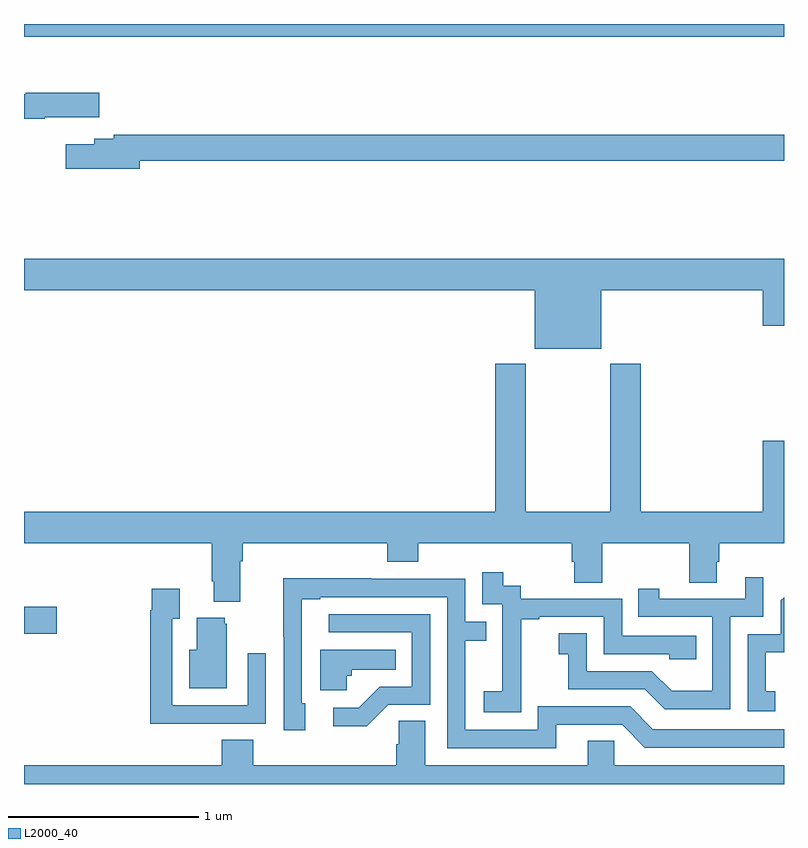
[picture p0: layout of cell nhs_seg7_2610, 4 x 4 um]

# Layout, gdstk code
import gdstk
lib = gdstk.Library(unit=1e-6, precision=1e-09)
def R(c, l, rs):  # rectangles x0, y0, x1, y1
    for r in rs: c.add(gdstk.rectangle(r[:2], r[2:], *l))
def P(c, l, *ps):  # polygons
    for p in ps: c.add(gdstk.Polygon(p, *l))
L2000_40 = (2000, 40)

nhs_seg7_2610 = lib.new_cell('nhs_seg7_2610')
R(nhs_seg7_2610, L2000_40, [(281,1014.791,281.173,1014.933), (281,1017.932,285,1018)])
P(nhs_seg7_2610, L2000_40, [(281.11,1017.509),(281.395,1017.509),(281.395,1017.639),(281.01,1017.639),(281.01,1017.631),(281,1017.631),(281,1017.502),(281.11,1017.502)],
  [(281.608,1017.28),(285,1017.28),(285,1017.416),(281.473,1017.416),(281.473,1017.397),(281.369,1017.397),(281.369,1017.367),(281.22,1017.367),(281.22,1017.238),(281.608,1017.238)],
  [(284.038,1016.6),(284.888,1016.6),(284.888,1016.412),(285,1016.412),(285,1016.764),(281,1016.764),(281,1016.6),(283.688,1016.6),(283.688,1016.291),(284.038,1016.291)],
  [(282.139,1015.172),(282.152,1015.172),(282.152,1015.268),(282.911,1015.268),(282.911,1015.169),(283.076,1015.169),(283.076,1015.268),(283.883,1015.268),(283.883,1015.17),(283.895,1015.17),(283.895,1015.06),(284.043,1015.06),(284.043,1015.268),(284.5,1015.268),(284.5,1015.06),(284.647,1015.06),(284.647,1015.17),(284.66,1015.17),(284.66,1015.268),(285,1015.268),(285,1015.807),(284.888,1015.807),(284.888,1015.432),(284.246,1015.432),(284.246,1016.212),(284.086,1016.212),(284.086,1015.432),(283.641,1015.432),(283.641,1016.212),(283.481,1016.212),(283.481,1015.432),(281,1015.432),(281,1015.268),(281.987,1015.268),(281.987,1015.066),(281.999,1015.066),(281.999,1014.959),(282.139,1014.959)],
  [(283.617,1014.583),(283.616,1014.583),(283.616,1014.867),(283.711,1014.867),(283.711,1014.879),(284.052,1014.879),(284.052,1014.684),(284.397,1014.684),(284.397,1014.657),(284.537,1014.657),(284.537,1014.78),(284.148,1014.78),(284.148,1014.975),(283.614,1014.975),(283.614,1015.044),(283.522,1015.044),(283.522,1015.114),(283.413,1015.114),(283.413,1014.945),(283.518,1014.945),(283.518,1014.716),(283.517,1014.716),(283.517,1014.487),(283.419,1014.487),(283.419,1014.377),(283.617,1014.377)],
  [(284.718,1014.879),(284.892,1014.879),(284.892,1015.087),(284.795,1015.087),(284.795,1014.975),(284.344,1014.975),(284.344,1015.027),(284.233,1015.027),(284.233,1014.879),(284.622,1014.879),(284.622,1014.49),(284.408,1014.49),(284.304,1014.594),(283.962,1014.594),(283.962,1014.793),(283.815,1014.793),(283.815,1014.683),(283.864,1014.683),(283.864,1014.498),(284.267,1014.498),(284.372,1014.393),(284.718,1014.393)],
  [(283.801,1014.312),(284.148,1014.312),(284.268,1014.192),(285,1014.192),(285,1014.288),(284.31,1014.288),(284.19,1014.408),(283.704,1014.408),(283.704,1014.285),(283.323,1014.285),(283.323,1014.754),(283.433,1014.754),(283.433,1014.855),(283.323,1014.855),(283.323,1015.08),(282.827,1015.08),(282.827,1015.082),(282.364,1015.082),(282.364,1014.775),(282.366,1014.775),(282.366,1014.282),(282.481,1014.282),(282.481,1014.426),(282.462,1014.426),(282.462,1014.972),(282.559,1014.972),(282.559,1014.984),(283.227,1014.984),(283.227,1014.189),(283.801,1014.189)],
  [(281.957,1014.318),(282.273,1014.318),(282.273,1014.688),(282.177,1014.688),(282.177,1014.414),(281.781,1014.414),(281.781,1014.871),(281.821,1014.871),(281.821,1015.027),(281.673,1015.027),(281.673,1014.914),(281.665,1014.914),(281.665,1014.317),(281.957,1014.317)],
  [(284.954,1014.489),(284.905,1014.489),(284.905,1014.693),(285,1014.693),(285,1014.984),(284.982,1014.966),(284.982,1014.789),(284.808,1014.789),(284.808,1014.384),(284.954,1014.384)],
  [(282.918,1014.417),(283.137,1014.417),(283.137,1014.894),(282.603,1014.894),(282.603,1014.798),(283.041,1014.798),(283.041,1014.513),(282.872,1014.513),(282.761,1014.402),(282.627,1014.402),(282.627,1014.305),(282.805,1014.305)],
  [(282.067,1014.843),(282.056,1014.843),(282.056,1014.874),(281.909,1014.874),(281.909,1014.706),(281.87,1014.706),(281.87,1014.503),(282.067,1014.503)],
  [(282.699,1014.57),(282.726,1014.57),(282.726,1014.602),(282.956,1014.602),(282.956,1014.706),(282.56,1014.706),(282.56,1014.494),(282.699,1014.494)],
  [(285,1014.1),(284.106,1014.1),(284.106,1014.227),(283.967,1014.227),(283.967,1014.1),(283.111,1014.1),(283.111,1014.332),(282.972,1014.332),(282.972,1014.209),(282.959,1014.209),(282.959,1014.1),(282.206,1014.1),(282.206,1014.233),(282.041,1014.233),(282.041,1014.1),(281,1014.1),(281,1014),(285,1014)])

lib.write_gds('nhs_seg7_2610.gds')
